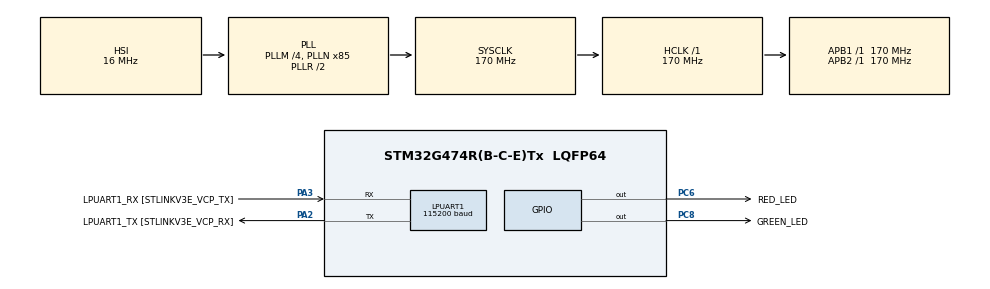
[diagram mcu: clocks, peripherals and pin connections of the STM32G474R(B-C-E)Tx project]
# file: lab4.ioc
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LPUART1.BaudRate=115200
Mcu.Family=STM32G4
Mcu.Name=STM32G474R(B-C-E)Tx
Mcu.Package=LQFP64
NVIC.LPUART1_IRQn=true\:0\:0\:false\:false\:true\:true\:true\:true
NVIC.PriorityGroup=NVIC_PRIORITYGROUP_4
PA13.GPIO_Label=T_SWDIO
PA13.Mode=Serial_Wire
PA13.Signal=SYS_JTMS-SWDIO
PA14.GPIO_Label=T_SWCLK
PA14.Mode=Serial_Wire
PA14.Signal=SYS_JTCK-SWCLK
PA2.GPIO_Label=LPUART1_TX [STLINKV3E_VCP_RX]
PA2.Mode=Asynchronous
PA2.Signal=LPUART1_TX
PA3.GPIO_Label=LPUART1_RX [STLINKV3E_VCP_TX]
PA3.Mode=Asynchronous
PA3.Signal=LPUART1_RX
PB3.GPIO_Label=T_SWO
PB3.Signal=SYS_JTDO-SWO
PC14-OSC32_IN.GPIO_Label=RCC_OSC32_IN
PC14-OSC32_IN.Signal=RCC_OSC32_IN
PC15-OSC32_OUT.GPIO_Label=RCC_OSC32_OUT
PC15-OSC32_OUT.Signal=RCC_OSC32_OUT
PC6.GPIO_Label=RED_LED
PC6.Signal=GPIO_Output
PC8.GPIO_Label=GREEN_LED
PC8.Signal=GPIO_Output
PF0-OSC_IN.GPIO_Label=RCC_OSC_IN
PF0-OSC_IN.Signal=RCC_OSC_IN
PF1-OSC_OUT.GPIO_Label=RCC_OSC_OUT
PF1-OSC_OUT.Signal=RCC_OSC_OUT
ProjectManager.HeapSize=0x200
ProjectManager.StackSize=0x400
ProjectManager.TargetToolchain=STM32CubeIDE
RCC.ADC12Freq_Value=170000000
RCC.ADC345Freq_Value=170000000
RCC.AHBFreq_Value=170000000
RCC.APB1Freq_Value=170000000
RCC.APB1TimFreq_Value=170000000
RCC.APB2Freq_Value=170000000
RCC.APB2TimFreq_Value=170000000
RCC.CortexFreq_Value=170000000
RCC.EXTERNAL_CLOCK_VALUE=12288000
RCC.HCLKFreq_Value=170000000
RCC.HSE_VALUE=24000000
RCC.HSI48_VALUE=48000000
RCC.HSI_VALUE=16000000
RCC.LSE_VALUE=32768
RCC.PLLM=RCC_PLLM_DIV4
RCC.PLLN=85
RCC.RTCClockSelection=RCC_RTCCLKSOURCE_LSE
RCC.SYSCLKFreq_VALUE=170000000
RCC.SYSCLKSource=RCC_SYSCLKSOURCE_PLLCLK
RCC.USBFreq_Value=170000000
RCC.VCOOutputFreq_Value=340000000
VP_SYS_VS_DBSignals.Mode=DisableDeadBatterySignals
board=NUCLEO-G474RE

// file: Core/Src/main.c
/* USER CODE BEGIN Header */
/**
  ******************************************************************************
  * @file           : main.c
  * @brief          : Main program body
  ******************************************************************************
  * @attention
  *
  * Copyright (c) 2026 STMicroelectronics.
  * All rights reserved.
  *
  * This software is licensed under terms that can be found in the LICENSE file
  * in the root directory of this software component.
  * If no LICENSE file comes with this software, it is provided AS-IS.
  *
  ******************************************************************************
  */
/* USER CODE END Header */
#include "main.h"

/* USER CODE BEGIN Includes */
#include <string.h>
/* USER CODE END Includes */

UART_HandleTypeDef hlpuart1;

/* USER CODE BEGIN PV */
static uint8_t rxByte;
static char lineBuffer[32];
static uint8_t lineLength = 0U;

#define RX_RING_SIZE 256U
static volatile uint8_t  rxRing[RX_RING_SIZE];
static volatile uint16_t rxHead = 0U;
static volatile uint16_t rxTail = 0U;
static volatile uint32_t rxDropped = 0U;
static volatile uint32_t commandCount = 0U;
/* USER CODE END PV */

void SystemClock_Config(void);
static void MX_GPIO_Init(void);
static void MX_LPUART1_UART_Init(void);
/* USER CODE BEGIN PFP */
static void ProcessReceivedByte(uint8_t data);
static void ExecuteCommand(const char *command);
static void RingPush(uint8_t data);
static uint8_t RingPop(uint8_t *data);
/* USER CODE END PFP */

/* USER CODE BEGIN 0 */
static void ExecuteCommand(const char *command)
{
  if (strcmp(command, "GREEN ON") == 0)
    HAL_GPIO_WritePin(GPIOC, GPIO_PIN_8, GPIO_PIN_SET);
  else if (strcmp(command, "GREEN OFF") == 0)
    HAL_GPIO_WritePin(GPIOC, GPIO_PIN_8, GPIO_PIN_RESET);
  else if (strcmp(command, "RED ON") == 0)
    HAL_GPIO_WritePin(GPIOC, GPIO_PIN_6, GPIO_PIN_SET);
  else if (strcmp(command, "RED OFF") == 0)
    HAL_GPIO_WritePin(GPIOC, GPIO_PIN_6, GPIO_PIN_RESET);
  else
  {
    return;          /* 不認得的指令不計數 */
  }
  commandCount++;
}

static void ProcessReceivedByte(uint8_t data)
{
  if (data == '\r') return;

  if (data == '\n')
  {
    lineBuffer[lineLength] = '\0';
    ExecuteCommand(lineBuffer);
    lineLength = 0U;
  }
  else if (lineLength < sizeof(lineBuffer) - 1U)
  {
    lineBuffer[lineLength++] = (char)data;
  }
}

static void RingPush(uint8_t data)
{
  uint16_t next = (rxHead + 1U) % RX_RING_SIZE;
  if (next == rxTail)
  {
    rxDropped++;
    return;
  }
  rxRing[rxHead] = data;
  rxHead = next;
}

static uint8_t RingPop(uint8_t *data)
{
  if (rxHead == rxTail) return 0U;
  *data = rxRing[rxTail];
  rxTail = (rxTail + 1U) % RX_RING_SIZE;
  return 1U;
}
/* USER CODE END 0 */

int main(void)
{

  /* MCU Configuration--------------------------------------------------------*/

  /* Reset of all peripherals, Initializes the Flash interface and the Systick. */
  HAL_Init();

  /* Configure the system clock */
  SystemClock_Config();

  /* Initialize all configured peripherals */
  MX_GPIO_Init();
  MX_LPUART1_UART_Init();
  /* USER CODE BEGIN 2 */
  uint8_t startupMessage[] = "HELLO WORLD\r\n";
  if (HAL_UART_Transmit(&hlpuart1, startupMessage,
                        sizeof(startupMessage) - 1U, 100U) != HAL_OK)
  {
    Error_Handler();
  }

  HAL_NVIC_SetPriority(LPUART1_IRQn, 5U, 0U);
  HAL_NVIC_EnableIRQ(LPUART1_IRQn);

  if (HAL_UART_Receive_IT(&hlpuart1, &rxByte, 1U) != HAL_OK)
  {
    Error_Handler();
  }
  /* USER CODE END 2 */

  /* Infinite loop */
  while (1)
  {
	    HAL_Delay(200U);   /* 模擬主迴圈卡住，中斷照樣在收 */
	    uint8_t data;
	    while (RingPop(&data) != 0U)
	    {
	      ProcessReceivedByte(data);
	    }
  }
}

void SystemClock_Config(void)
{
  RCC_OscInitTypeDef RCC_OscInitStruct = {0};
  RCC_ClkInitTypeDef RCC_ClkInitStruct = {0};

  /** Configure the main internal regulator output voltage
  */
  HAL_PWREx_ControlVoltageScaling(PWR_REGULATOR_VOLTAGE_SCALE1_BOOST);

  /** Initializes the RCC Oscillators according to the specified parameters
  * in the RCC_OscInitTypeDef structure.
  */
  RCC_OscInitStruct.OscillatorType = RCC_OSCILLATORTYPE_HSI;
  RCC_OscInitStruct.HSIState = RCC_HSI_ON;
  RCC_OscInitStruct.HSICalibrationValue = RCC_HSICALIBRATION_DEFAULT;
  RCC_OscInitStruct.PLL.PLLState = RCC_PLL_ON;
  RCC_OscInitStruct.PLL.PLLSource = RCC_PLLSOURCE_HSI;
  RCC_OscInitStruct.PLL.PLLM = RCC_PLLM_DIV4;
  RCC_OscInitStruct.PLL.PLLN = 85;
  RCC_OscInitStruct.PLL.PLLP = RCC_PLLP_DIV2;
  RCC_OscInitStruct.PLL.PLLQ = RCC_PLLQ_DIV2;
  RCC_OscInitStruct.PLL.PLLR = RCC_PLLR_DIV2;
  if (HAL_RCC_OscConfig(&RCC_OscInitStruct) != HAL_OK)
  {
    Error_Handler();
  }

  /** Initializes the CPU, AHB and APB buses clocks
  */
  RCC_ClkInitStruct.ClockType = RCC_CLOCKTYPE_HCLK|RCC_CLOCKTYPE_SYSCLK
                              |RCC_CLOCKTYPE_PCLK1|RCC_CLOCKTYPE_PCLK2;
  RCC_ClkInitStruct.SYSCLKSource = RCC_SYSCLKSOURCE_PLLCLK;
  RCC_ClkInitStruct.AHBCLKDivider = RCC_SYSCLK_DIV1;
  RCC_ClkInitStruct.APB1CLKDivider = RCC_HCLK_DIV1;
  RCC_ClkInitStruct.APB2CLKDivider = RCC_HCLK_DIV1;

  if (HAL_RCC_ClockConfig(&RCC_ClkInitStruct, FLASH_LATENCY_4) != HAL_OK)
  {
    Error_Handler();
  }
}

static void MX_LPUART1_UART_Init(void)
{

  hlpuart1.Instance = LPUART1;
  hlpuart1.Init.BaudRate = 115200;
  hlpuart1.Init.WordLength = UART_WORDLENGTH_8B;
  hlpuart1.Init.StopBits = UART_STOPBITS_1;
  hlpuart1.Init.Parity = UART_PARITY_NONE;
  hlpuart1.Init.Mode = UART_MODE_TX_RX;
  hlpuart1.Init.HwFlowCtl = UART_HWCONTROL_NONE;
  hlpuart1.Init.OneBitSampling = UART_ONE_BIT_SAMPLE_DISABLE;
  hlpuart1.Init.ClockPrescaler = UART_PRESCALER_DIV1;
  hlpuart1.AdvancedInit.AdvFeatureInit = UART_ADVFEATURE_NO_INIT;
  if (HAL_UART_Init(&hlpuart1) != HAL_OK)
  {
    Error_Handler();
  }
  if (HAL_UARTEx_SetTxFifoThreshold(&hlpuart1, UART_TXFIFO_THRESHOLD_1_8) != HAL_OK)
  {
    Error_Handler();
  }
  if (HAL_UARTEx_SetRxFifoThreshold(&hlpuart1, UART_RXFIFO_THRESHOLD_1_8) != HAL_OK)
  {
    Error_Handler();
  }
  if (HAL_UARTEx_DisableFifoMode(&hlpuart1) != HAL_OK)
  {
    Error_Handler();
  }

}

static void MX_GPIO_Init(void)
{
  GPIO_InitTypeDef GPIO_InitStruct = {0};

  /* GPIO Ports Clock Enable */
  __HAL_RCC_GPIOC_CLK_ENABLE();
  __HAL_RCC_GPIOF_CLK_ENABLE();
  __HAL_RCC_GPIOA_CLK_ENABLE();
  __HAL_RCC_GPIOB_CLK_ENABLE();

  /*Configure GPIO pin Output Level */
  HAL_GPIO_WritePin(GPIOC, RED_LED_Pin|GREEN_LED_Pin, GPIO_PIN_RESET);

  /*Configure GPIO pins : RED_LED_Pin GREEN_LED_Pin */
  GPIO_InitStruct.Pin = RED_LED_Pin|GREEN_LED_Pin;
  GPIO_InitStruct.Mode = GPIO_MODE_OUTPUT_PP;
  GPIO_InitStruct.Pull = GPIO_NOPULL;
  GPIO_InitStruct.Speed = GPIO_SPEED_FREQ_LOW;
  HAL_GPIO_Init(GPIOC, &GPIO_InitStruct);

}

/* USER CODE BEGIN 4 */
void HAL_UART_RxCpltCallback(UART_HandleTypeDef *huart)
{
  if (huart->Instance != LPUART1) return;
  RingPush(rxByte);
  HAL_UART_Receive_IT(huart, &rxByte, 1U);
}
/* USER CODE END 4 */

void Error_Handler(void)
{
  __disable_irq();
  while (1)
  {
  }
}
